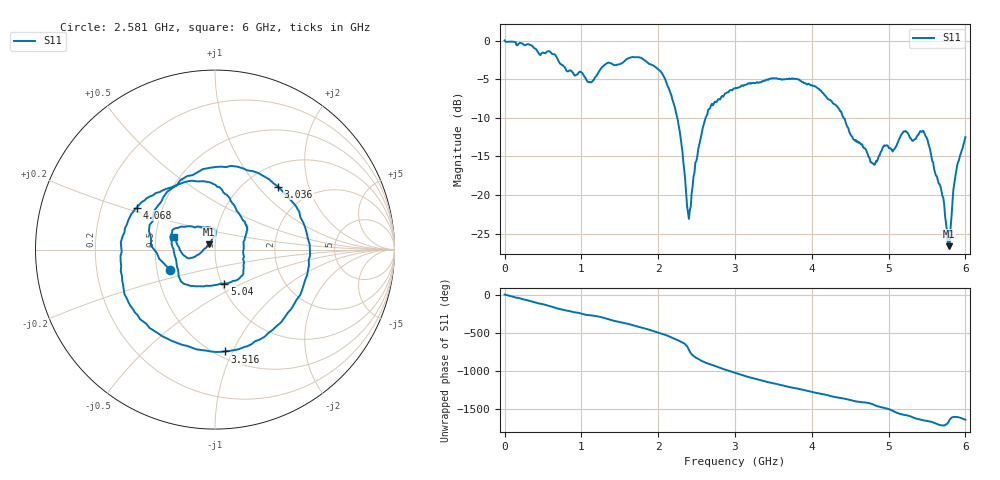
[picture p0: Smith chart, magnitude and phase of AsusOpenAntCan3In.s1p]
# Hz S RI R 50
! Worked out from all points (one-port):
!   501 points, 1 MHz to 6 GHz, reference 50 ohm
!   lowest |S11| = -26.6 dB at 5.784 GHz (marker M1), VSWR 1.10, Z = 46.5 + j2.8 ohm
!   |S11| at or under -10 dB: 2.249 GHz to 2.618 GHz (369.5 MHz wide, 15.2 % of centre); 4.416 GHz to end of sweep
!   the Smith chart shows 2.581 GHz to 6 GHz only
!   S11 on the Smith chart (normalised r, x): 2.581 GHz: 0.59, -0.14; 3.036 GHz: 1.39, +1.29; 3.516 GHz: 0.55, -0.93; 4.068 GHz: 0.36, +0.22; 5.04 GHz: 1.03, -0.41; 6 GHz: 0.63, +0.10
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1000000  1.002 -0.000758
1.92968e8  0.6456 -0.7166
3.36944e8  0.0539 -0.9363
5.88902e8  -0.7456 -0.4098
7.56874e8  -0.6617 0.2111
9.96834e8  -0.2204 0.5854
1.248792e9  0.2622 0.5966
1.50075e9  0.7042 0.00785
1.632728e9  0.6667 -0.3953
1.824696e9  0.0875 -0.7417
2.052658e9  -0.544 -0.2796
2.256624e9  -0.1617 0.2579
2.4006e9  0.0702 -0.00249
2.58057e9  -0.2488 -0.1117
2.748542e9  -0.3161 0.2469
3.0005e9  0.2711 0.4093
3.036494e9  0.3512 0.3508
3.24046e9  0.5127 -0.1437
3.516414e9  0.0541 -0.5676
3.756374e9  -0.4316 -0.3646
4.068322e9  -0.4368 0.2337
4.284286e9  -0.0891 0.3799
4.50025e9  0.1196 0.2183
5.04016e9  0.0516 -0.1898
5.256124e9  -0.2033 -0.1442
5.484086e9  -0.2074 0.12
5.784036e9  -0.0358 0.03
6e9  -0.2258 0.0728
